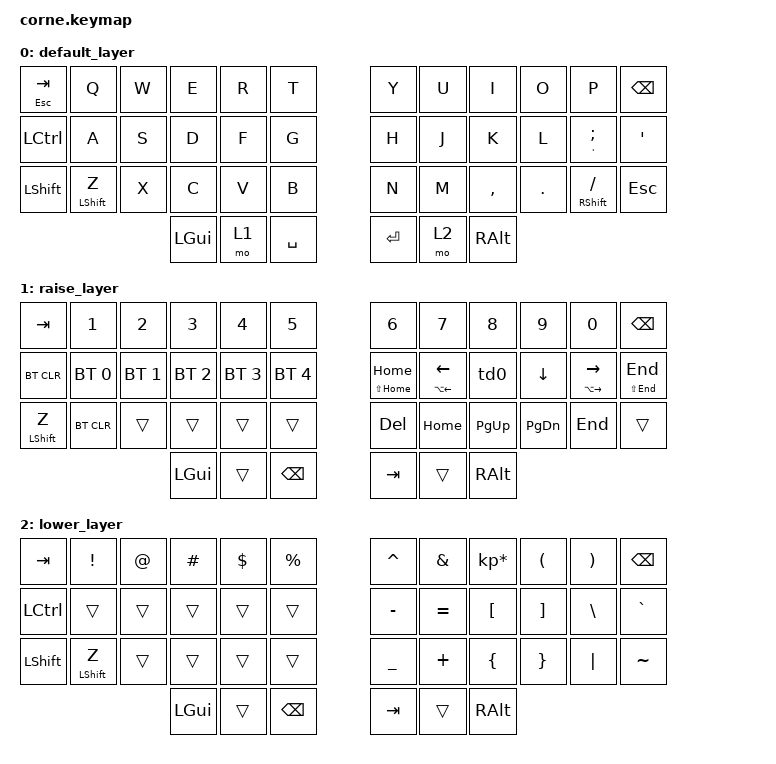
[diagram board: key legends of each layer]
/*
 * Copyright (c) 2020 The ZMK Contributors
 *
 * SPDX-License-Identifier: MIT
 */

#include <behaviors.dtsi>
#include <dt-bindings/zmk/keys.h>
#include <dt-bindings/zmk/bt.h>

&mt {
    tapping-term-ms = <400>;
};

/ {
        // Tap-dance definitions
        behaviors {
            td0: tap_dance_0 {
                compatible = "zmk,behavior-tap-dance";
                label = "TAP_DANCE_0";
                #binding-cells = <0>;
                tapping-term-ms = <200>;
                bindings = <&kp UP>, <&kp LA(UP)>, <&kp PG_UP>;
            };
        };

        keymap {
                compatible = "zmk,keymap";

                default_layer {
// -----------------------------------------------------------------------------------------
// |TB-ESC|  Q   |  W  |  E  |  R  |  T  |   |  Y  |  U   |  I  |  O  |   P  |BKSP  |
// | CTRL |  A   |  S  |  D  |  F  |  G  |   |  H  |  J   |  K  |  L  |  ;-' |  '   |
// | SHFT |Z-SHFT|  X  |  C  |  V  |  B  |   |  N  |  M   |  ,  |  .  |/-SHFT| ESC  |
//                     | GUI | LWR | SPC |   | ENT | RSE  | ALT |
                        bindings = <
   &mt ESC TAB &kp Q         &kp W  &kp E     &kp R  &kp T      &kp Y    &kp U  &kp I      &kp O    &kp P            &kp BSPC
   &kp LCTRL   &kp A         &kp S  &kp D     &kp F  &kp G      &kp H    &kp J  &kp K      &kp L    &mt SQT SEMI     &kp SQT
   &kp LSHIFT  &mt LSHIFT Z  &kp X  &kp C     &kp V  &kp B      &kp N    &kp M  &kp COMMA  &kp DOT  &mt RSHIFT FSLH  &kp ESC
                                    &kp LGUI  &mo 1  &kp SPACE  &kp RET  &mo 2  &kp RALT
                        >;
                };
                raise_layer {
// -----------------------------------------------------------------------------------------
// |  TAB |  1  |  2  |  3  |  4  |  5  |   |  6  |  7  |  8  |  9  |  0  | BKSP |
// | BTCLR| BT1 | BT2 | BT3 | BT4 | BT5 |   | BKSP| LFT |  UP | DWN | RGT |      |
// |Z-SHFT|BTCLR|     |     |     |     |   | DEL | HME |PG_UP|PG_DN| END |      |
//                    | GUI |     | BKSP|   | TAB |     | ALT |
                        bindings = <
   &kp TAB       &kp N1        &kp N2        &kp N3        &kp N4        &kp N5        &kp N6             &kp N7             &kp N8     &kp N9     &kp N0               &kp BSPC
   &bt BT_CLR    &bt BT_SEL 0  &bt BT_SEL 1  &bt BT_SEL 2  &bt BT_SEL 3  &bt BT_SEL 4  &mt LS(HOME) HOME  &mt LA(LEFT) LEFT  &td0       &kp DOWN   &mt LA(RIGHT) RIGHT  &mt LS(END) END
   &mt LSHIFT Z  &bt BT_CLR    &trans        &trans        &trans        &trans        &kp DEL            &kp HOME           &kp PG_UP  &kp PG_DN  &kp END              &trans
                                             &kp LGUI      &trans        &kp BSPC      &kp TAB            &trans             &kp RALT
                        >;
                };

                lower_layer {
// -----------------------------------------------------------------------------------------
// |  TAB |  !   |  @  |  #  |  $  |  %  |   |  ^  |  &  |  *  |  (  |  )  | BKSP |
// | CTRL |      |     |     |     |     |   |  -  |  =  |  [  |  ]  |  \  |  `   |
// | SHFT |Z-SHFT|     |     |     |     |   |  _  |  +  |  {  |  }  | "|" |  ~   |
//                     | GUI |     | BKSP|   | TAB |     | ALT |
                        bindings = <
   &kp TAB     &kp EXCL      &kp AT    &kp HASH  &kp DLLR  &kp PRCNT  &kp CARET  &kp AMPS   &kp KP_MULTIPLY  &kp LPAR  &kp RPAR  &kp BSPC
   &kp LCTRL   &trans        &trans    &trans    &trans    &trans     &kp MINUS  &kp EQUAL  &kp LBKT         &kp RBKT  &kp BSLH  &kp GRAVE
   &kp LSHIFT  &mt LSHIFT Z  &trans    &trans    &trans    &trans     &kp UNDER  &kp PLUS   &kp LBRC         &kp RBRC  &kp PIPE  &kp TILDE
                    	               &kp LGUI  &trans    &kp BSPC   &kp TAB    &trans     &kp RALT
                        >;
                };
        };
};
